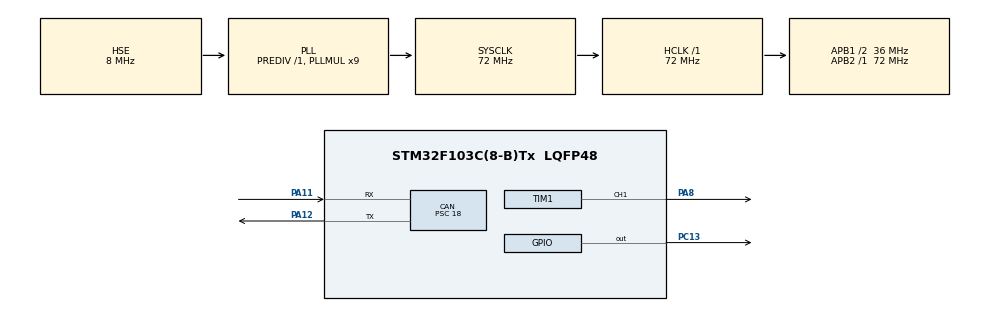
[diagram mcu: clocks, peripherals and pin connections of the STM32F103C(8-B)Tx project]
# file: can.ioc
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CAN.BS1=CAN_BS1_2TQ
CAN.CalculateBaudRate=500000
CAN.CalculateTimeBit=2000
CAN.CalculateTimeQuantum=500.0
CAN.Prescaler=18
Mcu.Family=STM32F1
Mcu.Name=STM32F103C(8-B)Tx
Mcu.Package=LQFP48
NVIC.CAN1_RX1_IRQn=true\:0\:0\:false\:false\:true\:true\:true\:true
NVIC.PriorityGroup=NVIC_PRIORITYGROUP_4
NVIC.TIM1_BRK_IRQn=true\:0\:0\:false\:false\:true\:true\:true\:true
NVIC.TIM1_CC_IRQn=true\:0\:0\:false\:false\:true\:true\:true\:true
NVIC.TIM1_TRG_COM_IRQn=true\:0\:0\:false\:false\:true\:true\:true\:true
NVIC.TIM1_UP_IRQn=true\:0\:0\:false\:false\:true\:true\:true\:true
NVIC.USB_HP_CAN1_TX_IRQn=true\:0\:0\:false\:false\:true\:true\:true\:true
NVIC.USB_LP_CAN1_RX0_IRQn=true\:0\:0\:false\:false\:true\:true\:true\:true
PA11.Mode=CAN_Activate
PA11.Signal=CAN_RX
PA12.Mode=CAN_Activate
PA12.Signal=CAN_TX
PA13.Mode=Serial_Wire
PA13.Signal=SYS_JTMS-SWDIO
PA14.Mode=Serial_Wire
PA14.Signal=SYS_JTCK-SWCLK
PA8.Signal=S_TIM1_CH1
PC13-TAMPER-RTC.Signal=GPIO_Output
PD0-OSC_IN.Mode=HSE-External-Oscillator
PD0-OSC_IN.Signal=RCC_OSC_IN
PD1-OSC_OUT.Mode=HSE-External-Oscillator
PD1-OSC_OUT.Signal=RCC_OSC_OUT
ProjectManager.HeapSize=0x200
ProjectManager.StackSize=0x400
ProjectManager.TargetToolchain=STM32CubeIDE
RCC.AHBFreq_Value=72000000
RCC.APB1CLKDivider=RCC_HCLK_DIV2
RCC.APB1Freq_Value=36000000
RCC.APB1TimFreq_Value=72000000
RCC.APB2Freq_Value=72000000
RCC.APB2TimFreq_Value=72000000
RCC.HCLKFreq_Value=72000000
RCC.PLLMUL=RCC_PLL_MUL9
RCC.PLLSourceVirtual=RCC_PLLSOURCE_HSE
RCC.SYSCLKFreq_VALUE=72000000
RCC.SYSCLKSource=RCC_SYSCLKSOURCE_PLLCLK
RCC.USBFreq_Value=72000000
SH.S_TIM1_CH1.0=TIM1_CH1,PWM Generation1 CH1
TIM1.Channel-PWM\ Generation1\ CH1=TIM_CHANNEL_1
board=custom

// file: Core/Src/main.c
/* USER CODE BEGIN Header */
/**
  ******************************************************************************
  * @file           : main.c
  * @brief          : Main program body
  ******************************************************************************
  * @attention
  *
  * <h2><center>&copy; Copyright (c) 2022 STMicroelectronics.
  * All rights reserved.</center></h2>
  *
  * This software component is licensed by ST under BSD 3-Clause license,
  * the "License"; You may not use this file except in compliance with the
  * License. You may obtain a copy of the License at:
  *                        opensource.org/licenses/BSD-3-Clause
  *
  ******************************************************************************
  */
/* USER CODE END Header */
#include "main.h"

CAN_HandleTypeDef hcan;

TIM_HandleTypeDef htim1;

void SystemClock_Config(void);
static void MX_GPIO_Init(void);
static void MX_CAN_Init(void);
static void MX_TIM1_Init(void);

/* USER CODE BEGIN 0 */

CAN_TxHeaderTypeDef CanTxHeader;
CAN_RxHeaderTypeDef CanRxHeader;
uint8_t patava[8];
uint8_t CanRxData[25];

void HAL_CAN_RxFifo1MsgPendingCallback(CAN_HandleTypeDef *hcan)
{
	HAL_CAN_GetRxMessage(hcan, CAN_RX_FIFO1, &CanRxHeader, CanRxData);

	if (CanRxHeader.StdId == 0x21)	// BMS den gelen veri
	{
		for (int var = 0; var < 8; ++var) // Burası tamamen hücre gerilimleri
		{
			patava[var] = CanRxData[var];

		}
	}

	HAL_CAN_GetRxMessage(hcan, CAN_RX_FIFO1, &CanRxHeader, CanRxData);

		if (CanRxHeader.StdId == 0x23)	// BMS den gelen veri
		{
			for (int var = 0; var < 8; ++var) // Burası tamamen hücre gerilimleri
			{
				patava[var] = CanRxData[var];

			}
		}
		HAL_CAN_GetRxMessage(hcan, CAN_RX_FIFO1, &CanRxHeader, CanRxData);

			if (CanRxHeader.StdId == 0x22)	// BMS den gelen veri
			{
				for (int var = 0; var < 8; ++var) // Burası tamamen hücre gerilimleri
				{
					patava[var] = CanRxData[var];

				}
			}
}
/* USER CODE END 0 */

int main(void)
{

  /* MCU Configuration--------------------------------------------------------*/

  /* Reset of all peripherals, Initializes the Flash interface and the Systick. */
  HAL_Init();

  /* Configure the system clock */
  SystemClock_Config();

  /* Initialize all configured peripherals */
  MX_GPIO_Init();
  MX_CAN_Init();
  MX_TIM1_Init();
  /* USER CODE BEGIN 2 */
  HAL_CAN_Start(&hcan);

   //Bildirimi etkinleştirme
   HAL_CAN_ActivateNotification(&hcan, CAN_IT_RX_FIFO1_MSG_PENDING);

   CanTxHeader.DLC = 8; //Veri uzunluğu
    CanTxHeader.IDE = CAN_ID_STD;
    CanTxHeader.RTR = CAN_RTR_DATA;
    CanTxHeader.ExtId = 0x00000016; // Bizim ID

  /* USER CODE END 2 */

  /* Infinite loop */
  while (1)
  {

  }
}

void SystemClock_Config(void)
{
  RCC_OscInitTypeDef RCC_OscInitStruct = {0};
  RCC_ClkInitTypeDef RCC_ClkInitStruct = {0};

  /** Initializes the RCC Oscillators according to the specified parameters
  * in the RCC_OscInitTypeDef structure.
  */
  RCC_OscInitStruct.OscillatorType = RCC_OSCILLATORTYPE_HSE;
  RCC_OscInitStruct.HSEState = RCC_HSE_ON;
  RCC_OscInitStruct.HSEPredivValue = RCC_HSE_PREDIV_DIV1;
  RCC_OscInitStruct.HSIState = RCC_HSI_ON;
  RCC_OscInitStruct.PLL.PLLState = RCC_PLL_ON;
  RCC_OscInitStruct.PLL.PLLSource = RCC_PLLSOURCE_HSE;
  RCC_OscInitStruct.PLL.PLLMUL = RCC_PLL_MUL9;
  if (HAL_RCC_OscConfig(&RCC_OscInitStruct) != HAL_OK)
  {
    Error_Handler();
  }

  /** Initializes the CPU, AHB and APB buses clocks
  */
  RCC_ClkInitStruct.ClockType = RCC_CLOCKTYPE_HCLK|RCC_CLOCKTYPE_SYSCLK
                              |RCC_CLOCKTYPE_PCLK1|RCC_CLOCKTYPE_PCLK2;
  RCC_ClkInitStruct.SYSCLKSource = RCC_SYSCLKSOURCE_PLLCLK;
  RCC_ClkInitStruct.AHBCLKDivider = RCC_SYSCLK_DIV1;
  RCC_ClkInitStruct.APB1CLKDivider = RCC_HCLK_DIV2;
  RCC_ClkInitStruct.APB2CLKDivider = RCC_HCLK_DIV1;

  if (HAL_RCC_ClockConfig(&RCC_ClkInitStruct, FLASH_LATENCY_2) != HAL_OK)
  {
    Error_Handler();
  }
}

static void MX_CAN_Init(void)
{

  hcan.Instance = CAN1;
  hcan.Init.Prescaler = 18;
  hcan.Init.Mode = CAN_MODE_NORMAL;
  hcan.Init.SyncJumpWidth = CAN_SJW_1TQ;
  hcan.Init.TimeSeg1 = CAN_BS1_2TQ;
  hcan.Init.TimeSeg2 = CAN_BS2_1TQ;
  hcan.Init.TimeTriggeredMode = DISABLE;
  hcan.Init.AutoBusOff = DISABLE;
  hcan.Init.AutoWakeUp = DISABLE;
  hcan.Init.AutoRetransmission = DISABLE;
  hcan.Init.ReceiveFifoLocked = DISABLE;
  hcan.Init.TransmitFifoPriority = DISABLE;
  if (HAL_CAN_Init(&hcan) != HAL_OK)
  {
    Error_Handler();
  }
  /* USER CODE BEGIN CAN_Init 2 */
  CAN_FilterTypeDef canfilterconfig;

   canfilterconfig.FilterActivation = CAN_FILTER_ENABLE;
   canfilterconfig.FilterBank = 10;
   canfilterconfig.FilterFIFOAssignment = CAN_FILTER_FIFO1;
   canfilterconfig.FilterIdHigh = 0x0000;
   canfilterconfig.FilterIdLow = 0x0000;
   canfilterconfig.FilterMaskIdHigh = 0x0000;
   canfilterconfig.FilterMaskIdLow = 0x0000;
   canfilterconfig.FilterMode = CAN_FILTERMODE_IDMASK;
   canfilterconfig.FilterScale = CAN_FILTERSCALE_32BIT;
   HAL_CAN_ConfigFilter(&hcan, &canfilterconfig);
  /* USER CODE END CAN_Init 2 */

}

static void MX_TIM1_Init(void)
{

  TIM_MasterConfigTypeDef sMasterConfig = {0};
  TIM_OC_InitTypeDef sConfigOC = {0};
  TIM_BreakDeadTimeConfigTypeDef sBreakDeadTimeConfig = {0};

  htim1.Instance = TIM1;
  htim1.Init.Prescaler = 0;
  htim1.Init.CounterMode = TIM_COUNTERMODE_UP;
  htim1.Init.Period = 65535;
  htim1.Init.ClockDivision = TIM_CLOCKDIVISION_DIV1;
  htim1.Init.RepetitionCounter = 0;
  htim1.Init.AutoReloadPreload = TIM_AUTORELOAD_PRELOAD_DISABLE;
  if (HAL_TIM_PWM_Init(&htim1) != HAL_OK)
  {
    Error_Handler();
  }
  sMasterConfig.MasterOutputTrigger = TIM_TRGO_RESET;
  sMasterConfig.MasterSlaveMode = TIM_MASTERSLAVEMODE_DISABLE;
  if (HAL_TIMEx_MasterConfigSynchronization(&htim1, &sMasterConfig) != HAL_OK)
  {
    Error_Handler();
  }
  sConfigOC.OCMode = TIM_OCMODE_PWM1;
  sConfigOC.Pulse = 0;
  sConfigOC.OCPolarity = TIM_OCPOLARITY_HIGH;
  sConfigOC.OCNPolarity = TIM_OCNPOLARITY_HIGH;
  sConfigOC.OCFastMode = TIM_OCFAST_DISABLE;
  sConfigOC.OCIdleState = TIM_OCIDLESTATE_RESET;
  sConfigOC.OCNIdleState = TIM_OCNIDLESTATE_RESET;
  if (HAL_TIM_PWM_ConfigChannel(&htim1, &sConfigOC, TIM_CHANNEL_1) != HAL_OK)
  {
    Error_Handler();
  }
  sBreakDeadTimeConfig.OffStateRunMode = TIM_OSSR_DISABLE;
  sBreakDeadTimeConfig.OffStateIDLEMode = TIM_OSSI_DISABLE;
  sBreakDeadTimeConfig.LockLevel = TIM_LOCKLEVEL_OFF;
  sBreakDeadTimeConfig.DeadTime = 0;
  sBreakDeadTimeConfig.BreakState = TIM_BREAK_DISABLE;
  sBreakDeadTimeConfig.BreakPolarity = TIM_BREAKPOLARITY_HIGH;
  sBreakDeadTimeConfig.AutomaticOutput = TIM_AUTOMATICOUTPUT_DISABLE;
  if (HAL_TIMEx_ConfigBreakDeadTime(&htim1, &sBreakDeadTimeConfig) != HAL_OK)
  {
    Error_Handler();
  }
  HAL_TIM_MspPostInit(&htim1);

}

static void MX_GPIO_Init(void)
{
  GPIO_InitTypeDef GPIO_InitStruct = {0};

  /* GPIO Ports Clock Enable */
  __HAL_RCC_GPIOC_CLK_ENABLE();
  __HAL_RCC_GPIOD_CLK_ENABLE();
  __HAL_RCC_GPIOA_CLK_ENABLE();

  /*Configure GPIO pin Output Level */
  HAL_GPIO_WritePin(GPIOC, GPIO_PIN_13, GPIO_PIN_RESET);

  /*Configure GPIO pin : PC13 */
  GPIO_InitStruct.Pin = GPIO_PIN_13;
  GPIO_InitStruct.Mode = GPIO_MODE_OUTPUT_PP;
  GPIO_InitStruct.Pull = GPIO_NOPULL;
  GPIO_InitStruct.Speed = GPIO_SPEED_FREQ_LOW;
  HAL_GPIO_Init(GPIOC, &GPIO_InitStruct);

}

void Error_Handler(void)
{
  __disable_irq();
  while (1)
  {
  }
}
